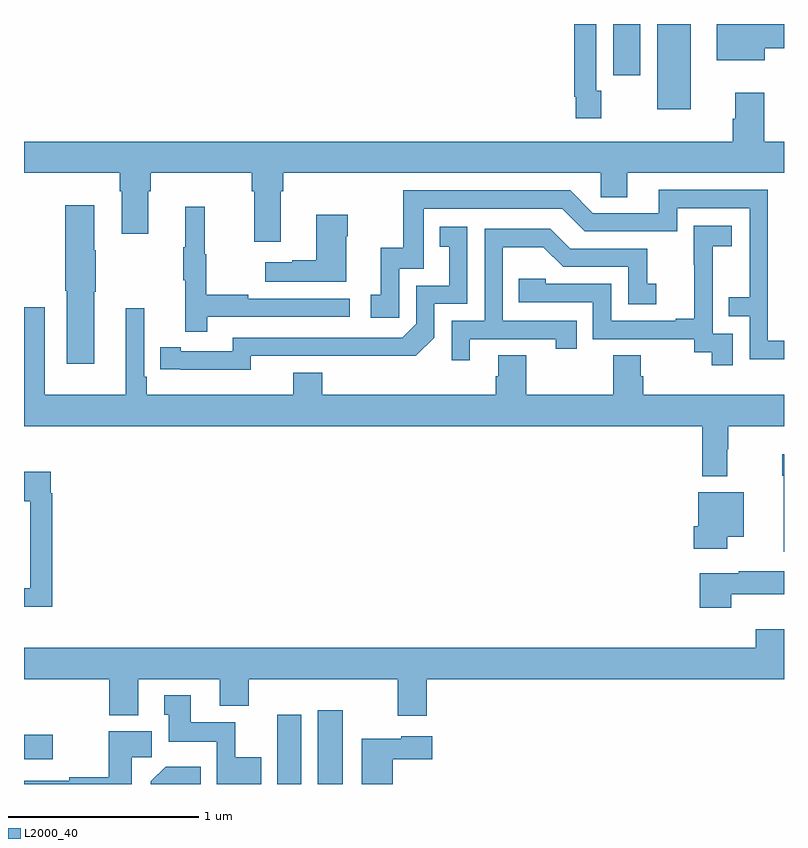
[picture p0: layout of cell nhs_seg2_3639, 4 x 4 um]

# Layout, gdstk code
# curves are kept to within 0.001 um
import gdstk
lib = gdstk.Library(unit=1e-6, precision=1e-09)
def R(c, l, rs):  # rectangles x0, y0, x1, y1
    for r in rs: c.add(gdstk.rectangle(r[:2], r[2:], *l))
def P(c, l, *ps):  # polygons
    for p in ps: c.add(gdstk.Polygon(p, *l))
L2000_40 = (2000, 40)

nhs_seg2_3639 = lib.new_cell('nhs_seg2_3639')
R(nhs_seg2_3639, L2000_40, [(304.334,597.8,304.459,598.165), (304.547,597.8,304.678,598.189), (303,597.929,303.151,598.059), (306.332,601.352,306.508,601.8), (306.101,601.53,306.244,601.8)])
P(nhs_seg2_3639, L2000_40, [(306.898,601.673),(307,601.673),(307,601.8),(306.647,601.8),(306.647,601.61),(306.898,601.61)],
  [(306.039,601.449),(306.012,601.449),(306.012,601.8),(305.896,601.8),(305.896,601.417),(305.904,601.417),(305.904,601.305),(306.039,601.305)],
  [(304.351,600.92),(304.364,600.92),(304.364,601.016),(306.036,601.016),(306.036,600.889),(306.175,600.889),(306.175,601.016),(307,601.016),(307,601.18),(306.896,601.18),(306.896,601.438),(306.743,601.438),(306.743,601.301),(306.731,601.301),(306.731,601.18),(303,601.18),(303,601.016),(303.503,601.016),(303.503,600.92),(303.515,600.92),(303.515,600.696),(303.655,600.696),(303.655,600.92),(303.668,600.92),(303.668,601.016),(304.199,601.016),(304.199,600.92),(304.211,600.92),(304.211,600.654),(304.351,600.654)],
  [(307,600.132),(306.915,600.132),(306.915,600.927),(306.341,600.927),(306.341,600.804),(305.994,600.804),(305.874,600.924),(304.995,600.924),(304.995,600.622),(304.877,600.622),(304.877,600.375),(304.824,600.375),(304.824,600.255),(304.974,600.255),(304.974,600.513),(305.103,600.513),(305.103,600.828),(305.832,600.828),(305.952,600.708),(306.438,600.708),(306.438,600.831),(306.819,600.831),(306.819,600.362),(306.709,600.362),(306.709,600.261),(306.819,600.261),(306.819,600.036),(307,600.036)],
  [(303.37,600.391),(303.378,600.391),(303.378,600.608),(303.37,600.608),(303.37,600.847),(303.217,600.847),(303.217,600.397),(303.224,600.397),(303.224,600.012),(303.37,600.012)],
  [(303.965,600.258),(304.714,600.258),(304.714,600.354),(304.181,600.354),(304.181,600.374),(303.958,600.374),(303.958,600.588),(303.95,600.588),(303.95,600.838),(303.848,600.838),(303.848,600.625),(303.837,600.625),(303.837,600.451),(303.848,600.451),(303.848,600.18),(303.965,600.18)],
  [(304.696,600.683),(304.704,600.683),(304.704,600.796),(304.538,600.796),(304.538,600.557),(304.412,600.557),(304.412,600.547),(304.269,600.547),(304.269,600.443),(304.696,600.443)],
  [(306.729,600.171),(306.624,600.171),(306.624,600.401),(306.626,600.401),(306.626,600.629),(306.724,600.629),(306.724,600.739),(306.526,600.739),(306.526,600.533),(306.527,600.533),(306.527,600.25),(306.431,600.25),(306.431,600.237),(306.09,600.237),(306.09,600.432),(305.745,600.432),(305.745,600.459),(305.605,600.459),(305.605,600.336),(305.994,600.336),(305.994,600.141),(306.528,600.141),(306.528,600.073),(306.621,600.073),(306.621,600.003),(306.729,600.003)],
  [(304.194,600.054),(305.062,600.053),(305.16,600.15),(305.16,600.327),(305.334,600.327),(305.334,600.733),(305.188,600.733),(305.188,600.627),(305.237,600.627),(305.237,600.423),(305.064,600.423),(305.064,600.222),(304.992,600.15),(304.098,600.15),(304.098,600.078),(303.826,600.078),(303.826,600.098),(303.718,600.098),(303.718,599.982),(304.194,599.981)],
  [(305.347,600.141),(305.798,600.141),(305.798,600.09),(305.909,600.09),(305.909,600.237),(305.52,600.237),(305.52,600.626),(305.734,600.626),(305.838,600.522),(306.18,600.522),(306.18,600.324),(306.328,600.324),(306.328,600.433),(306.279,600.433),(306.279,600.618),(305.875,600.618),(305.77,600.723),(305.424,600.723),(305.424,600.237),(305.25,600.237),(305.25,600.03),(305.347,600.03)],
  [(306.7,599.561),(306.707,599.561),(306.707,599.684),(307,599.684),(307,599.848),(306.26,599.848),(306.26,599.946),(306.247,599.946),(306.247,600.056),(306.1,600.056),(306.1,599.848),(305.643,599.848),(305.643,600.056),(305.495,600.056),(305.495,599.946),(305.483,599.946),(305.483,599.848),(304.571,599.848),(304.571,599.965),(304.418,599.965),(304.418,599.848),(303.647,599.848),(303.647,599.944),(303.633,599.944),(303.633,600.304),(303.536,600.304),(303.536,599.848),(303.109,599.848),(303.109,600.31),(303,600.31),(303,599.684),(306.571,599.684),(306.571,599.421),(306.7,599.421)],
  [(307,599.536),(306.991,599.536),(306.991,599.423),(306.998,599.423),(306.998,599.022),(307,599.022)],
  [(303.149,599.33),(303.142,599.33),(303.142,599.443),(303,599.443),(303,599.287),(303.033,599.287),(303.033,598.83),(303,598.83),(303,598.733),(303.149,598.733)],
  [(306.702,599.102),(306.787,599.102),(306.787,599.335),(306.548,599.335),(306.548,599.157),(306.524,599.157),(306.524,599.039),(306.702,599.039)],
  [(306.722,598.799),(307,598.799),(307,598.921),(306.762,598.921),(306.762,598.909),(306.557,598.909),(306.557,598.728),(306.722,598.728)],
  [(305.12,598.352),(307,598.352),(307,598.615),(306.851,598.615),(306.851,598.516),(303,598.516),(303,598.352),(303.449,598.352),(303.449,598.163),(303.601,598.163),(303.601,598.352),(304.031,598.352),(304.031,598.211),(304.184,598.211),(304.184,598.352),(304.967,598.352),(304.967,598.158),(305.12,598.158)],
  [(304.249,597.94),(304.113,597.94),(304.113,598.126),(303.877,598.126),(303.877,598.267),(303.737,598.267),(303.737,598.164),(303.761,598.164),(303.761,598.022),(304.014,598.022),(304.014,597.8),(304.249,597.8)],
  [(303.568,597.94),(303.673,597.94),(303.673,598.078),(303.446,598.078),(303.446,597.836),(303.238,597.836),(303.238,597.816),(303,597.816),(303,597.8),(303.568,597.8)],
  [(304.94,597.929),(305.149,597.929),(305.149,598.051),(304.986,598.051),(304.986,598.039),(304.778,598.039),(304.778,597.8),(304.94,597.8)],
  [(303.929,597.892),(303.746,597.892),(303.668,597.814),(303.668,597.8),(303.929,597.8)])

lib.write_gds('nhs_seg2_3639.gds')
